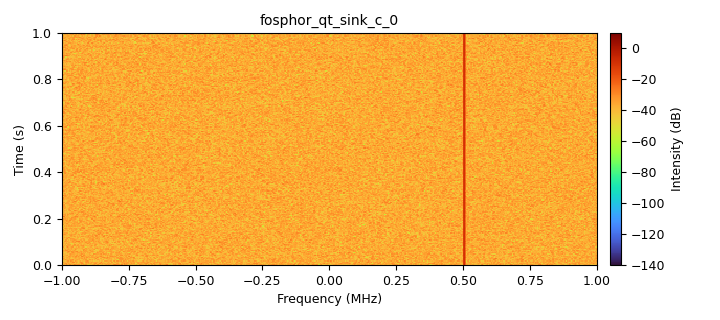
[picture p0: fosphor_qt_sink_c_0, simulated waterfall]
options:
  parameters:
    generate_options: qt_gui
    id: untitled
    output_language: python
    title: Not titled yet
  states: {}

blocks:
- name: freq
  id: variable_qtgui_range
  parameters:
    start: 50e6
    step: 10e6
    stop: 6e9
    value: 100e6
  states: {}
- name: gain
  id: variable_qtgui_range
  parameters:
    start: '0'
    step: '1'
    stop: '100'
    value: '50'
  states: {}
- name: samp_rate
  id: variable
  parameters:
    value: 2e6
  states: {}
- name: analog_fastnoise_source_x_0
  id: analog_fastnoise_source_x
  parameters:
    amp: '1'
    noise_type: analog.GR_GAUSSIAN
    samples: '8192'
    seed: '0'
    type: complex
  states: {}
- name: analog_sig_source_x_0
  id: analog_sig_source_x
  parameters:
    amp: '1'
    freq: samp_rate/4
    offset: '0'
    phase: '0'
    samp_rate: samp_rate
    type: complex
    waveform: analog.GR_COS_WAVE
  states: {}
- name: blocks_add_xx_0
  id: blocks_add_xx
  parameters:
    type: complex
  states: {}
- name: blocks_throttle2_0
  id: blocks_throttle2
  parameters:
    samples_per_second: samp_rate
    type: complex
  states: {}
- name: fosphor_glfw_sink_c_0
  id: fosphor_glfw_sink_c
  parameters:
    freq_center: '0'
    freq_span: samp_rate
  states: {state: disabled}
- name: fosphor_qt_sink_c_0
  id: fosphor_qt_sink_c
  parameters:
    freq_center: '0'
    freq_span: samp_rate
  states: {}

connections:
- [analog_fastnoise_source_x_0, '0', blocks_add_xx_0, '0']
- [analog_sig_source_x_0, '0', blocks_add_xx_0, '1']
- [blocks_add_xx_0, '0', blocks_throttle2_0, '0']
- [blocks_throttle2_0, '0', fosphor_qt_sink_c_0, '0']

metadata:
  file_format: 1
  grc_version: 3.10.9.2
